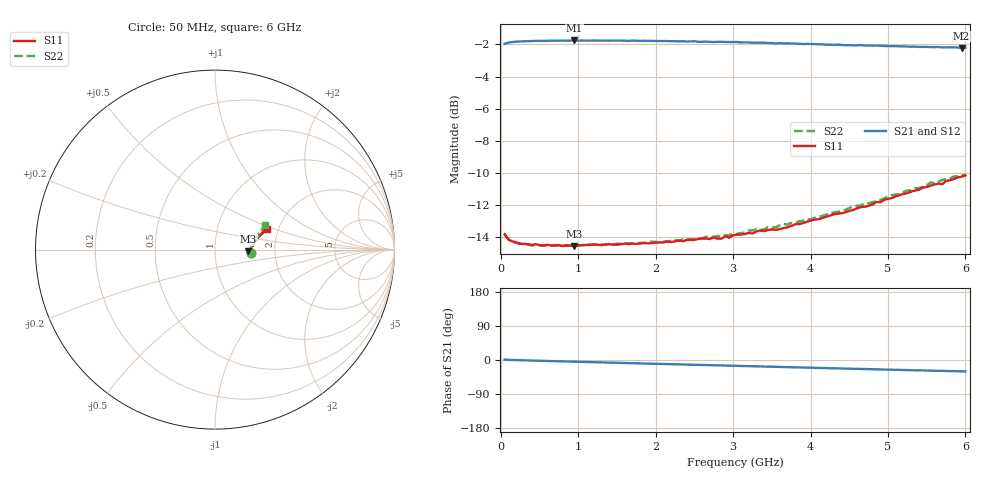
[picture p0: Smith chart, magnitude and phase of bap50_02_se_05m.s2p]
! Created by janssen on Wed Jul 24 13:32:48 METDST 2002
# HZ S MA R 50
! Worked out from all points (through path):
!   120 points, 50 MHz to 6 GHz, reference 50 ohm
!   highest |S21| = -1.75 dB at 950 MHz (marker M1); lowest = -2.2 dB at 5.95 GHz (marker M2)
!   group delay of S21, straight-line fit = 14.4 ps
!   lowest |S11| = -14.6 dB at 950 MHz (marker M3), VSWR 1.46, Z = 72.9 - j1.58 ohm
!   |S11| at or under -10 dB: start of sweep to end of sweep
!   |S22| runs from -14.5 to -10.1 dB; largest |S21 - S12| = 0.0081
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5e7  0.2036 -5.6  0.798 1.0  0.7976 1.0  0.2036 -5.4
1e8  0.1958 -4.6  0.8051 0.5  0.8047 0.5  0.1961 -4.4
2.5e8  0.1898 -3.4  0.8114 -0.6  0.8118 -0.6  0.1904 -3.5
4e8  0.1884 -2.9  0.8135 -1.5  0.8137 -1.5  0.1877 -2.9
9.5e8  0.1868 -3.2  0.8173 -4.4  0.8166 -4.4  0.188 -2.8
1.05e9  0.1883 -3.5  0.8172 -5.0  0.8165 -4.9  0.188 -2.9
2.05e9  0.1919 -2.2  0.8137 -10.2  0.8146 -10.2  0.1921 -1.3
2.75e9  0.1991 1.4  0.8085 -13.9  0.8114 -13.9  0.1999 2.6
2.85e9  0.1971 1.7  0.8094 -14.5  0.8103 -14.3  0.2014 3.7
2.9e9  0.2008 1.8  0.8085 -14.7  0.8094 -14.5  0.2017 3.5
2.95e9  0.1986 1.6  0.8081 -15.0  0.8094 -14.8  0.2024 4.3
3.05e9  0.2028 2.2  0.8082 -15.4  0.8103 -15.3  0.2039 4.1
3.6e9  0.2109 7.0  0.8016 -18.2  0.8033 -18.2  0.2167 9.1
4.05e9  0.2259 10.9  0.7964 -20.6  0.799 -20.5  0.2287 13.2
4.8e9  0.2518 16.1  0.7875 -24.4  0.7913 -24.4  0.2557 19.4
5.05e9  0.2638 17.9  0.7847 -25.7  0.7892 -25.6  0.2696 20.5
5.4e9  0.2801 19.8  0.7802 -27.3  0.7878 -27.3  0.2834 22.8
5.55e9  0.2884 19.9  0.7791 -28.2  0.7847 -28.1  0.295 23.7
5.7e9  0.2911 20.9  0.7774 -28.7  0.7853 -28.8  0.3005 24.2
5.75e9  0.2984 20.5  0.7776 -29.0  0.7836 -29.1  0.3016 24.7
5.95e9  0.3075 20.9  0.7748 -30.0  0.7827 -30.0  0.31 25.3
6e9  0.3103 21.3  0.7767 -30.1  0.7819 -30.3  0.3121 25.8
